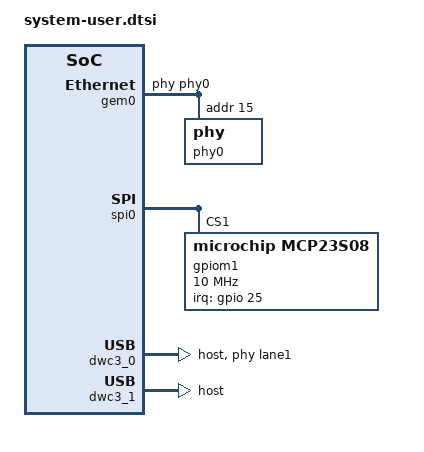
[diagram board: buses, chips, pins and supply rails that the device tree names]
/include/ "system-conf.dtsi"
/ {
};

&sdhci1 {
	sd-uhs-sdr104;
	disable-wp;
};

&gem0 {
	phy-handle = <&phy0>;
	phy0: phy@15 {
		reg = <0x0F>;
		ti,rx-internal-delay = <0x8>;
		ti,tx-internal-delay = <0xa>;
		ti,fifo-depth = <0x1>;
		ti,dp83867-rxctrl-strap-quirk;
	};
};

&spi0 {

	gpiom1: gpio@1 {
		compatible = "microchip,mcp23s08";
		gpio-controller;
		#reset-cells = <1>;
		#gpio-cells = <2>;
		interrupt-parent = <&gpio>;
		interrupts = <25 8>;
		microchip,spi-present-mask = <0x01>;
		interrupt-controller;
		#interrupt-cells = <0x2>;
		reg = <1>;
		spi-max-frequency = <10000000>;
	};
	/*wilc_spi@0 {
			compatible = "microchip,wilc1000", "microchip,wilc3000";
			spi-max-frequency = <48000000>;
			reg = <0>;
			irq-gpios = <&gpiom1 1 0>;
			reset-gpios = <&gpiom1 2 0>;
			chip_en-gpios = <&gpiom1 0 0>;
			status = "okay";
		};*/

};

/*&usb0 {
	status = "disabled";
};*/

&qspi {
	u-boot,dm-pre-reloc;
};

&flash0 {
	compatible = "is25lp256d", "jedec,spi-nor";
	spi-max-frequency = <150000000>; /*Zynq UltraScale+ maximum FQSPICLK1 according to ds925 */
};

&dwc3_0 {
	dr_mode = "host";
	snps,usb3_lpm_capable;
	phy-names = "usb3-phy";
	phys = <&lane1 4 0 3 100000000>;
	snps,dis_u2_susphy_quirk ;
	snps,dis_u3_susphy_quirk ;
	maximum-speed = "super-speed";
};

&dwc3_1 {
	 snps,dis_u2_susphy_quirk ;
	 snps,dis_u3_susphy_quirk ;
	 //resets = <&gpiom1 5>;
	 dr_mode = "host";
};

&gpio {
	gpio-line-names =
	"gpio0",
	"gpio1",
	"gpio2",
	"gpio3",
	"gpio4",
	"gpio5",
	"gpio6",
	"gpio7",
	"gpio8",
	"gpio9",
	"btn1",
	"btn0",
	"gpio12",
	"gpio13",
	"gpio14",
	"gpio15",
	"gpio16",
	"gpio17",
	"gpio18",
	"gpio19",
	"gpio20",
	"led0",
	"gpio22",
	"gpio23",
	"gpio24",
	"gpio25",
	"gpio26",
	"gpio27",
	"gpio28",
	"gpio29",
	"gpio30",
	"gpio31",
	"gpio32",
	"gpio33",
	"gpio34",
	"gpio35",
	"gpio36",
	"gpio37",
	"gpio38",
	"gpio39",
	"gpio40",
	"gpio41",
	"gpio42",
	"gpio43",
	"gpio44",
	"gpio45",
	"gpio46",
	"gpio47",
	"gpio48",
	"gpio49",
	"gpio50",
	"gpio51",
	"gpio52",
	"gpio53",
	"gpio54",
	"gpio55",
	"gpio56",
	"gpio57",
	"gpio58",
	"gpio59",
	"gpio60",
	"gpio61",
	"gpio62",
	"gpio63",
	"gpio64",
	"gpio65",
	"gpio66",
	"gpio67",
	"gpio68",
	"gpio69",
	"gpio70",
	"gpio71",
	"gpio72",
	"gpio73",
	"gpio74",
	"gpio75",
	"gpio76",
	"gpio77",
	"gpio78",
	"gpio79",
	"gpio80",
	"gpio81",
	"gpio82",
	"gpio83",
	"gpio84",
	"gpio85",
	"gpio86",
	"gpio87",
	"gpio88",
	"gpio89",
	"gpio90",
	"gpio91",
	"gpio92",
	"gpio93",
	"gpio94",
	"gpio95",
	"gpio96",
	"gpio97",
	"gpio98",
	"gpio99",
	"gpio100",
	"gpio101",
	"gpio102",
	"gpio103",
	"gpio104",
	"gpio105",
	"gpio106",
	"gpio107",
	"gpio108",
	"gpio109",
	"gpio110",
	"gpio111",
	"gpio112",
	"gpio113",
	"gpio114",
	"gpio115",
	"gpio116",
	"gpio117",
	"gpio118",
	"gpio119",
	"gpio120",
	"gpio121",
	"gpio122",
	"gpio123",
	"gpio124",
	"gpio125",
	"gpio126",
	"gpio127",
	"gpio128",
	"gpio129",
	"gpio130",
	"gpio131",
	"gpio132",
	"gpio133",
	"gpio134",
	"gpio135",
	"gpio136",
	"gpio137",
	"gpio138",
	"gpio139",
	"gpio140",
	"gpio141",
	"gpio142",
	"gpio143",
	"gpio144",
	"gpio145",
	"gpio146",
	"gpio147",
	"gpio148",
	"gpio149",
	"gpio150",
	"gpio151",
	"gpio152",
	"gpio153",
	"gpio154",
	"gpio155",
	"gpio156",
	"gpio157",
	"gpio158",
	"gpio159",
	"gpio160",
	"gpio161",
	"gpio162",
	"gpio163",
	"gpio164",
	"gpio165",
	"gpio166",
	"gpio167",
	"gpio168",
	"gpio169",
	"gpio170",
	"gpio171",
	"gpio172",
	"gpio173";

};

&axi_gpio_btn {
	gpio-line-names = "btnR", "btnL", "btnD", "btnC", "btnU";
};

&axi_gpio_led {
	gpio-line-names = "led1", "led2", "led3", "led4";
};

&axi_gpio_sw {
	gpio-line-names = "sw0", "sw1", "sw2", "sw3";
};

&pwm_rgb_led {
	compatible = "digilent,pwm-rgb-led";
};
